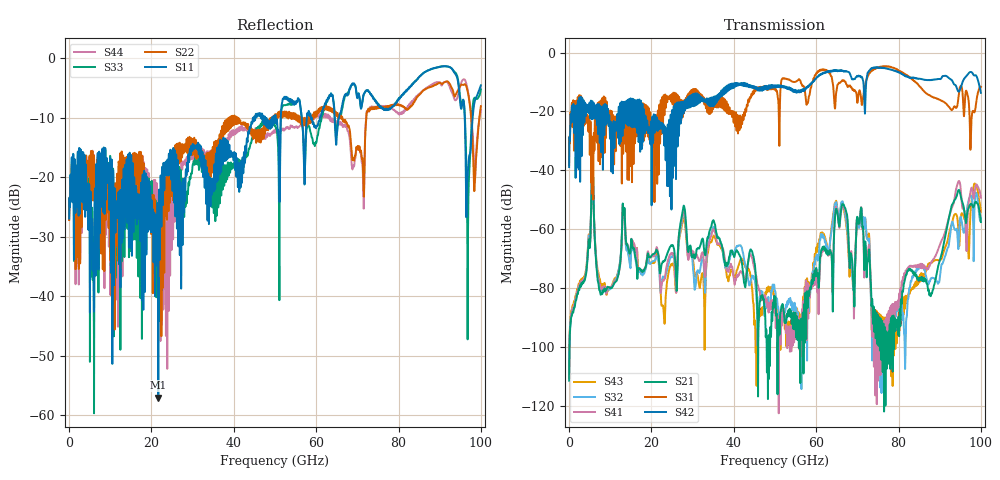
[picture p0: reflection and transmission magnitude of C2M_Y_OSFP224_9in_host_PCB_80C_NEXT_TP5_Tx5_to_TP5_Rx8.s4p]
# GHz S RI R 45
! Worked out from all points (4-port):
!   4000 points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, 25 MHz to 100 GHz, reference 45 ohm
!   strongest paths, dB at 25 MHz, 25.02 GHz, 50.02 GHz, 75.03 GHz, 100 GHz:
!     S42: -38.9, -20.0, -11.1, -5.1, -13.7
!     S31: -38.1, -14.4, -12.4, -5.0, -11.6
!     S21: -111.5, -65.7, -83.7, -90.4, -57.6
!     S41: -110.5, -68.5, -85.8, -101.7, -49.3
!     S32: -110.5, -69.3, -81.2, -95.2, -56.3
!     S43: -109.4, -72.1, -85.1, -89.2, -54.1
!   lowest |S11| = -57.0 dB at 21.68 GHz (marker M1), VSWR 1.00, Z = 45.1 - j0.026 ohm
!   |S11| at or under -10 dB: start of sweep to 44.65 GHz; 58.95 GHz to 60.92 GHz (1.968 GHz wide, 3.28 % of centre); 96.08 GHz to 98 GHz (1.928 GHz wide, 1.99 % of centre) (the widest 3 of 15)
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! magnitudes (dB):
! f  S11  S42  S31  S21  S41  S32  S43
! 25 MHz  -26.9  -38.9  -38.1  -111.5  -110.5  -110.5  -109.4
! 5.7 GHz  -34.8  -16.8  -35.6  -41.7  -41.8  -41.7  -41.7
! 7.675 GHz  -16.1  -18.3  -16.9  -82.2  -80.2  -81.3  -78.6
! 21.68 GHz  -57.0  -23.6  -23.3  -68.7  -68.2  -70.7  -69.3
! 66.38 GHz  -7.7  -6.2  -9.4  -51.5  -52.3  -50.5  -51.5
! 80.15 GHz  -6.7  -6.7  -6.3  -96.4  -81.9  -84.0  -89.6
! 100 GHz  -4.6  -13.7  -11.6  -57.6  -49.3  -56.3  -54.1
